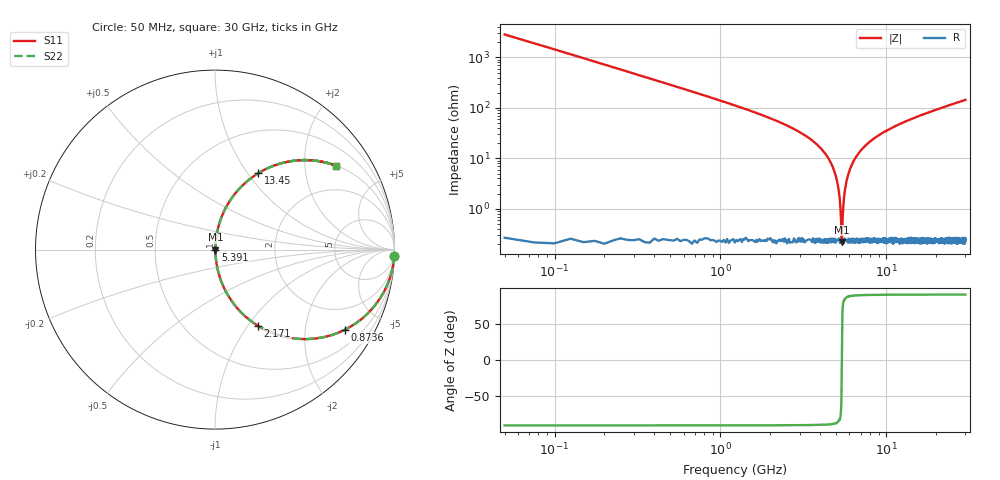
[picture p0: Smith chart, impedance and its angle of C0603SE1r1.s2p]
!	AVX Thin Film Operation 	Date: April 2014
!	Description: Accu-P® Series, Thin Film  SMD RF Capacitor
!	Part Number: 06031J1R1PBSTR
# MHZ S MA R 50
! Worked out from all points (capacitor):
!   1201 points, 50 MHz to 30 GHz, reference 50 ohm
!   read as one part in series: C = 1.1 pF near 199.8 MHz
!   lowest |Z| = 221 mohm at 5.391 GHz (marker M1)
!   series resonance near 5.395 GHz, so ESL is about 790 pH
!   S11 on the Smith chart (normalised r, x): 50 MHz: 2, -58; 873.6 MHz: 1.01, -3.22; 2.171 GHz: 1.00, -1.12; 5.391 GHz: 1.00, -0.00; 13.45 GHz: 1.00, +1.12; 30 GHz: 1.01, +2.89
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50  0.999 -2.0  0.035 88.0  0.035 88.0  0.999 -2.0
249.667  0.985 -9.8  0.17 80.2  0.17 80.2  0.985 -9.8
374.458  0.968 -14.6  0.252 75.4  0.252 75.4  0.968 -14.6
873.625  0.849 -31.8  0.527 58.1  0.527 58.1  0.849 -31.8
2171.458  0.487 -60.6  0.872 29.1  0.872 29.1  0.487 -60.6
4118.208  0.145 -80.8  0.987 8.3  0.987 8.3  0.145 -80.8
4692.25  0.075 -83.9  0.995 4.3  0.995 4.3  0.075 -83.9
5041.667  0.036 -84.2  0.997 2.1  0.997 2.1  0.036 -84.2
5166.458  0.023 -82.9  0.997 1.3  0.997 1.3  0.023 -82.9
5291.25  0.011 -76.6  0.998 0.6  0.998 0.6  0.011 -76.6
5391.083  0.00238 -8.2  0.998 0.0  0.998 0.0  0.00238 -8.2
5490.917  0.009766 75.5  0.998 -0.5  0.998 -0.5  0.009766 75.5
5640.667  0.024 83.0  0.997 -1.4  0.997 -1.4  0.024 83.0
5840.333  0.043 84.4  0.997 -2.4  0.997 -2.4  0.043 84.4
6514.208  0.101 82.9  0.993 -5.8  0.993 -5.8  0.101 82.9
7837  0.2 77.8  0.977 -11.6  0.977 -11.6  0.2 77.8
10058.29  0.335 70.1  0.94 -19.6  0.94 -19.6  0.335 70.1
13452.62  0.489 60.5  0.87 -29.2  0.87 -29.2  0.489 60.5
15025  0.545 56.8  0.837 -33.0  0.837 -33.0  0.545 56.8
20016.67  0.677 47.2  0.734 -42.6  0.734 -42.6  0.677 47.2
25033.29  0.764 40.1  0.644 -49.8  0.644 -49.8  0.764 40.1
30000  0.821 34.7  0.569 -55.2  0.569 -55.2  0.821 34.7
